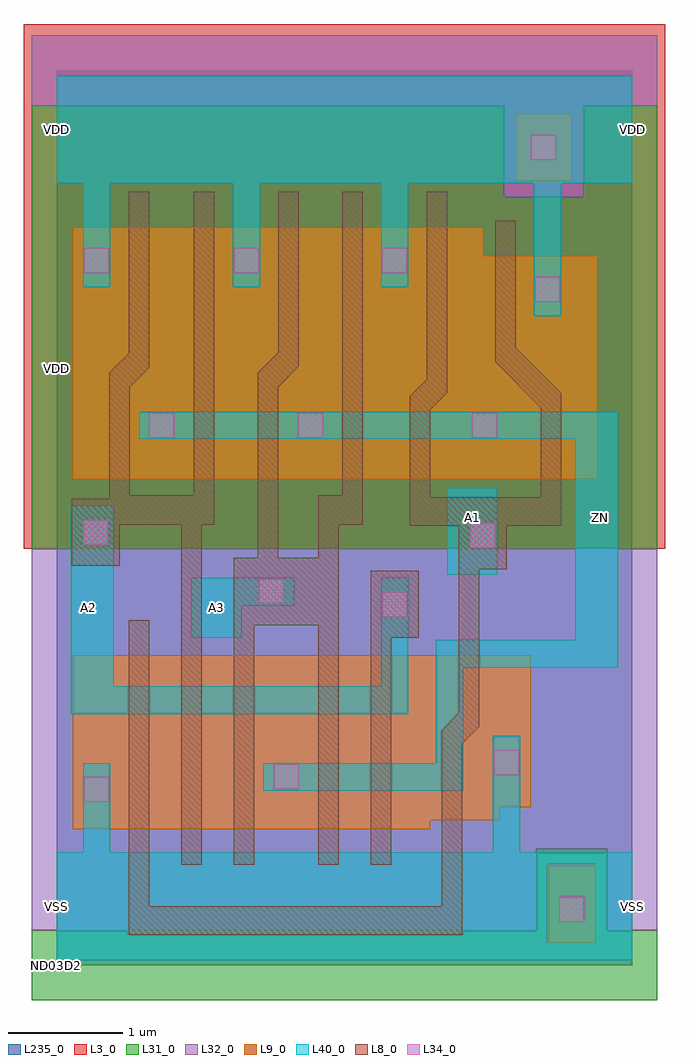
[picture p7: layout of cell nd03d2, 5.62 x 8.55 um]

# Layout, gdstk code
import gdstk
lib = gdstk.Library(unit=1e-6, precision=1e-09)
def R(c, l, rs):  # rectangles x0, y0, x1, y1
    for r in rs: c.add(gdstk.rectangle(r[:2], r[2:], *l))
def P(c, l, *ps):  # polygons
    for p in ps: c.add(gdstk.Polygon(p, *l))
L3_0 = (3, 0)
L8_0 = (8, 0)
L9_0 = (9, 0)
L31_0 = (31, 0)
L32_0 = (32, 0)
L34_0 = (34, 0)
L40_0 = (40, 0)
L235_0 = (235, 0)

nd03d2 = lib.new_cell('nd03d2')
R(nd03d2, L3_0, [(-0.29,3.65,5.33,8.245)])
P(nd03d2, L8_0, [(1.73,2.98),(2.29,2.98),(2.29,0.88),(2.47,0.88),(2.47,3.86),(2.68,3.86),(2.68,6.775),(2.5,6.775),(2.5,4.115),(2.29,4.115),(2.29,3.57),(1.94,3.57),(1.94,5.065),(2.12,5.245),(2.12,6.775),(1.94,6.775),(1.94,5.37),(1.76,5.19),(1.76,3.57),(1.55,3.57),(1.55,0.88),(1.73,0.88)],
  [(3.55,1.94),(3.7,2.09),(3.7,3.47),(3.94,3.47),(3.94,3.85),(4.42,3.85),(4.42,5.01),(4.02,5.41),(4.02,6.52),(3.84,6.52),(3.84,5.285),(4.24,4.885),(4.24,4.1),(3.27,4.1),(3.27,4.865),(3.42,5.015),(3.42,6.775),(3.24,6.775),(3.24,5.135),(3.09,4.985),(3.09,3.85),(3.52,3.85),(3.52,2.21),(3.37,2.06),(3.37,0.515),(0.81,0.515),(0.81,3.02),(0.63,3.02),(0.63,0.265),(3.55,0.265)],
  [(1.27,3.86),(1.38,3.86),(1.38,6.775),(1.2,6.775),(1.2,4.115),(0.64,4.115),(0.64,5.065),(0.81,5.235),(0.81,6.775),(0.63,6.775),(0.63,5.36),(0.46,5.19),(0.46,4.085),(0.13,4.085),(0.13,3.5),(0.55,3.5),(0.55,3.86),(1.09,3.86),(1.09,0.88),(1.27,0.88)],
  [(2.93,2.87),(3.17,2.87),(3.17,3.455),(2.75,3.455),(2.75,0.88),(2.93,0.88)])
R(nd03d2, L9_0, [(4.3,0.195,4.72,0.88), (4.02,6.87,4.51,7.46)])
P(nd03d2, L9_0, [(4.15,2.715),(4.15,1.385),(3.88,1.385),(3.88,1.27),(3.27,1.27),(3.27,1.19),(0.14,1.19),(0.14,2.715)],
  [(3.74,6.465),(3.74,6.215),(4.74,6.215),(4.74,4.255),(0.14,4.255),(0.14,6.465)])
P(nd03d2, L31_0, [(4.82,1.02),(4.82,0.305),(5.26,0.305),(5.26,-0.305),(-0.22,-0.305),(-0.22,0.305),(4.2,0.305),(4.2,1.02)],
  [(5.26,7.53),(5.26,3.65),(-0.22,3.65),(-0.22,7.53),(3.92,7.53),(3.92,6.73),(4.61,6.73),(4.61,7.53)])
P(nd03d2, L32_0, [(5.26,3.65),(5.26,0.305),(4.82,0.305),(4.82,1.02),(4.2,1.02),(4.2,0.305),(-0.22,0.305),(-0.22,3.65)],
  [(5.26,8.145),(5.26,7.53),(4.61,7.53),(4.61,6.73),(3.92,6.73),(3.92,7.53),(-0.22,7.53),(-0.22,8.145)])
R(nd03d2, L34_0, [(4.4,0.38,4.62,0.6), (0.24,1.43,0.46,1.65), (1.9,1.54,2.12,1.76), (3.83,1.665,4.05,1.885), (2.85,3.05,3.07,3.27), (1.77,3.165,1.99,3.385), (3.62,3.655,3.84,3.875), (0.23,3.68,0.45,3.9), (0.81,4.62,1.03,4.84), (2.11,4.62,2.33,4.84), (3.64,4.62,3.86,4.84), (4.19,5.81,4.41,6.03), (0.24,6.06,0.46,6.28), (1.55,6.06,1.77,6.28), (2.85,6.06,3.07,6.28), (4.15,7.055,4.37,7.275)])
R(nd03d2, L40_0, [(3.42,3.42,3.86,4.18)])
P(nd03d2, L40_0, [(0,6.85),(0.23,6.85),(0.23,5.94),(0.47,5.94),(0.47,6.85),(1.54,6.85),(1.54,5.94),(1.78,5.94),(1.78,6.85),(2.84,6.85),(2.84,5.94),(3.08,5.94),(3.08,6.85),(4.18,6.85),(4.18,5.685),(4.42,5.685),(4.42,6.85),(5.04,6.85),(5.04,7.79),(0,7.79)],
  [(4.92,4.85),(0.72,4.85),(0.72,4.61),(4.54,4.61),(4.54,2.85),(3.32,2.85),(3.32,1.77),(1.81,1.77),(1.81,1.53),(3.56,1.53),(3.56,2.605),(4.92,2.605)],
  [(0.12,4.025),(0.12,2.2),(3.08,2.2),(3.08,3.395),(2.84,3.395),(2.84,2.445),(0.5,2.445),(0.5,4.025)],
  [(1.18,2.87),(1.62,2.87),(1.62,3.15),(2.08,3.15),(2.08,3.395),(1.18,3.395)],
  [(3.82,2.01),(3.82,0.99),(0.47,0.99),(0.47,1.77),(0.23,1.77),(0.23,0.99),(0,0.99),(0,0.045),(5.04,0.045),(5.04,0.99),(4.06,0.99),(4.06,2.01)])
R(nd03d2, L235_0, [(0,0,5.04,7.84)])
nd03d2.add(gdstk.Label('VDD', (0,5.23), layer=40, texttype=7))
nd03d2.add(gdstk.Label('VDD', (0,5.23), layer=40, texttype=7))
nd03d2.add(gdstk.Label('VDD', (0,5.23), layer=40, texttype=7))
nd03d2.add(gdstk.Label('VDD', (0,5.23), layer=40, texttype=7))
nd03d2.add(gdstk.Label('VDD', (0,5.23), layer=40, texttype=7))
nd03d2.add(gdstk.Label('Copyright (c) 2003, 2004 Synopsys, Inc.', (0,-2.24), layer=96, texttype=0))
nd03d2.add(gdstk.Label('DT. 10-Sep-2002 16:43:04', (0,-1.68), layer=96, texttype=0))
nd03d2.add(gdstk.Label('Rev. 1', (0,-1.12), layer=96, texttype=0))
nd03d2.add(gdstk.Label('3-INPUT NAND, 2X DRIVE', (0,-0.56), layer=96, texttype=0))
nd03d2.add(gdstk.Label('ND03D2', (0,0), layer=96, texttype=0))
nd03d2.add(gdstk.Label('A1', (3.64,3.92), layer=40, texttype=7))
nd03d2.add(gdstk.Label('ZN', (4.76,3.92), layer=40, texttype=7))
nd03d2.add(gdstk.Label('A2', (0.28,3.135), layer=40, texttype=7))
nd03d2.add(gdstk.Label('A3', (1.4,3.135), layer=40, texttype=7))
nd03d2.add(gdstk.Label('VSS', (5.04,0.515), layer=40, texttype=7))
nd03d2.add(gdstk.Label('VDD', (5.04,7.32), layer=40, texttype=7))
nd03d2.add(gdstk.Label('VSS', (0,0.515), layer=40, texttype=7))
nd03d2.add(gdstk.Label('VDD', (0,7.32), layer=40, texttype=7))

lib.write_gds('nd03d2.gds')
